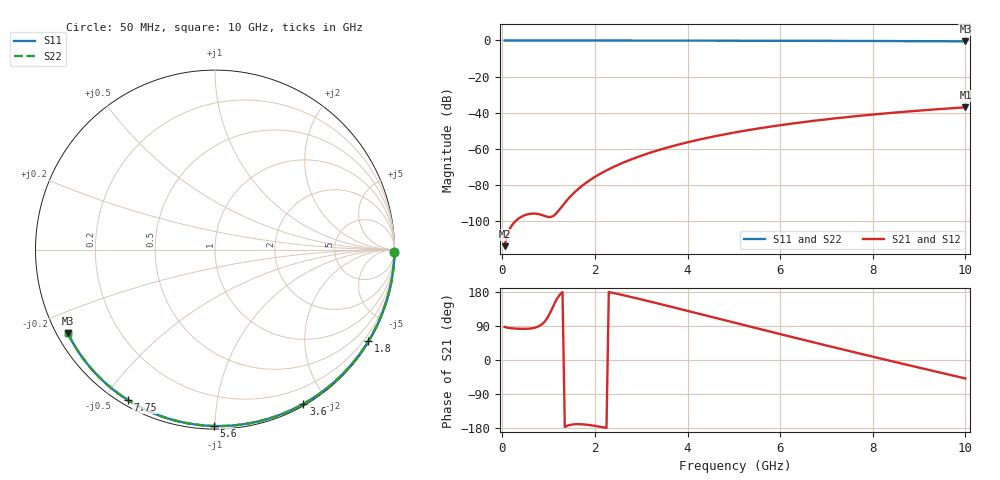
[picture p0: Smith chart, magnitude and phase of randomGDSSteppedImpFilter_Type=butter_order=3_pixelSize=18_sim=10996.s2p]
! freq	dB(S11)	phase(S11)	dB(S12)	phase(S12)
!  dB(S21)	phase(S21)	dB(S22)	phase(S22)
!S-par simulation data
#  GHz  S  DB  R 50
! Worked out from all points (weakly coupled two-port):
!   200 points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, 50 MHz to 10 GHz, reference 50 ohm
!   highest |S21| = -37.11 dB at 10 GHz (marker M1); lowest = -114.1 dB at 50 MHz (marker M2)
!   lowest |S11| = -0.5 dB at 10 GHz (marker M3), VSWR 34.38, Z = 1.56 - j13.2 ohm
!   |S11| at or under -10 dB: nowhere
!   |S22| runs from -0.5 to 0.0 dB; largest |S21 - S12| = 0
!   S11 on the Smith chart (normalised r, x): 50 MHz: open; 1.8 GHz: 0.03, -3.62; 3.6 GHz: 0.02, -1.73; 5.6 GHz: 0.02, -0.99; 7.75 GHz: 0.02, -0.57; 10 GHz: 0.03, -0.26
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0.05  -0.00 -0.9  -114.15 87.4  -114.15 87.4  -0.00 -0.9
0.45  -0.01 -7.8  -97.34 82.2  -97.34 82.2  -0.01 -7.8
0.9  -0.02 -15.6  -97.23 99.3  -97.23 99.3  -0.02 -15.6
1.3  -0.03 -22.4  -91.68 179.3  -91.68 179.3  -0.03 -22.4
1.75  -0.04 -30.0  -80.12 -169.9  -80.12 -169.9  -0.04 -30.0
1.8  -0.04 -30.9  -79.15 -170.5  -79.15 -170.5  -0.04 -30.9
1.95  -0.04 -33.4  -76.52 -172.8  -76.52 -172.8  -0.04 -33.4
2.1  -0.05 -35.9  -74.20 -175.8  -74.20 -175.8  -0.05 -35.9
2.3  -0.05 -39.2  -71.45 179.4  -71.45 179.4  -0.05 -39.2
2.5  -0.05 -42.5  -69.03 174.1  -69.03 174.1  -0.05 -42.5
2.9  -0.06 -49.0  -64.88 162.8  -64.88 162.8  -0.06 -49.0
3.4  -0.08 -57.0  -60.64 148.0  -60.64 148.0  -0.08 -57.0
3.6  -0.08 -60.2  -59.17 141.9  -59.17 141.9  -0.08 -60.2
4.3  -0.10 -71.0  -54.73 120.4  -54.73 120.4  -0.10 -71.0
5.05  -0.13 -82.3  -50.91 97.3  -50.91 97.3  -0.13 -82.3
5.6  -0.15 -90.3  -48.55 80.5  -48.55 80.5  -0.15 -90.3
6.15  -0.18 -98.2  -46.49 63.8  -46.49 63.8  -0.18 -98.2
6.7  -0.21 -105.9  -44.67 47.2  -44.67 47.2  -0.21 -105.9
7.75  -0.28 -120.2  -41.72 16.1  -41.72 16.1  -0.28 -120.2
8.35  -0.33 -128.2  -40.29 -1.5  -40.29 -1.5  -0.33 -128.2
9.2  -0.41 -139.6  -38.53 -25.9  -38.53 -25.9  -0.41 -139.6
10  -0.51 -150.3  -37.11 -48.7  -37.11 -48.7  -0.51 -150.3
